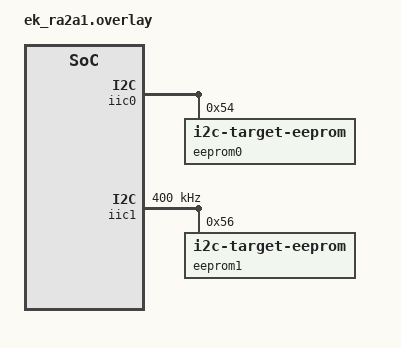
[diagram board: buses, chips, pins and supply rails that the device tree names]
/*
 * Copyright (c) 2025 Renesas Electronics Corporation
 *
 * SPDX-License-Identifier: Apache-2.0
 */

/* To test this sample, connect
 * SCL0 P000  -->  SCL1 P109
 * SDA0 P401  -->  SDA1 P400
 * Need to connect I2C pull up with 4.7k ohms
 */

&pinctrl {
	iic1_default: iic1_default {
		group1 {
			/* SCL1 SDA1 */
			psels = <RA_PSEL(RA_PSEL_I2C, 1, 9)>,
				<RA_PSEL(RA_PSEL_I2C, 4, 0)>;
			drive-strength = "medium";
		};
	};
};

&iic0 {
	status = "okay";

	eeprom0: eeprom@54 {
		compatible = "zephyr,i2c-target-eeprom";
		address-width = <8>;
		reg = <0x54>;
		size = <256>;
	};
};

&iic1 {
	#address-cells = <1>;
	#size-cells = <0>;
	clock-frequency = <I2C_BITRATE_FAST>;
	pinctrl-0 = <&iic1_default>;
	pinctrl-names = "default";
	interrupts = <27 1>, <28 1>, <30 1>, <31 1>;
	interrupt-names = "rxi", "txi", "tei", "eri";
	status = "okay";

	eeprom1: eeprom@56 {
		compatible = "zephyr,i2c-target-eeprom";
		reg = <0x56>;
		size = <256>;
	};
};
